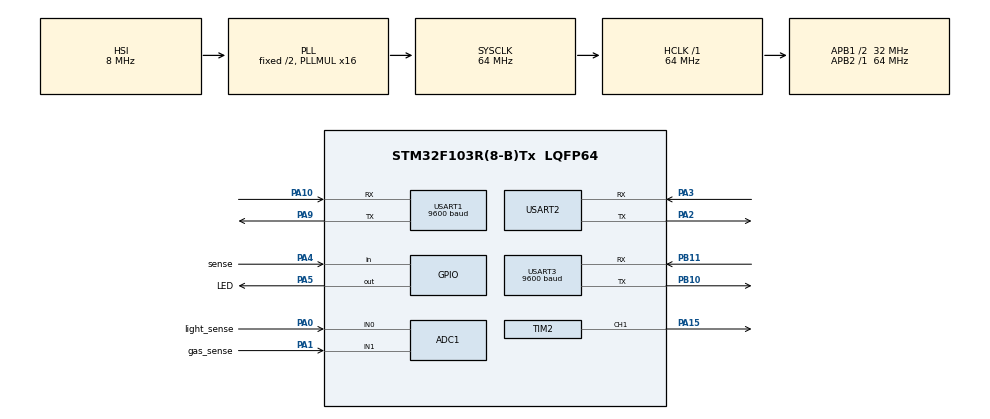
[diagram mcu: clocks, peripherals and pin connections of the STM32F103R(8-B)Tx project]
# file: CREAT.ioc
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ADC1.Channel-0\#ChannelRegularConversion=ADC_CHANNEL_0
ADC1.Channel-1\#ChannelRegularConversion=ADC_CHANNEL_1
ADC1.ContinuousConvMode=ENABLE
ADC1.NbrOfConversion=2
ADC1.NbrOfConversionFlag=1
ADC1.Rank-0\#ChannelRegularConversion=1
ADC1.Rank-1\#ChannelRegularConversion=2
ADC1.SamplingTime-0\#ChannelRegularConversion=ADC_SAMPLETIME_1CYCLE_5
ADC1.SamplingTime-1\#ChannelRegularConversion=ADC_SAMPLETIME_1CYCLE_5
ADC1.master=1
Dma.ADC1.0.Direction=DMA_PERIPH_TO_MEMORY
Dma.ADC1.0.Instance=DMA1_Channel1
Dma.ADC1.0.MemDataAlignment=DMA_MDATAALIGN_WORD
Dma.ADC1.0.MemInc=DMA_MINC_ENABLE
Dma.ADC1.0.Mode=DMA_CIRCULAR
Dma.ADC1.0.PeriphDataAlignment=DMA_PDATAALIGN_WORD
Dma.ADC1.0.PeriphInc=DMA_PINC_DISABLE
Dma.ADC1.0.Priority=DMA_PRIORITY_LOW
Dma.Request0=ADC1
Mcu.Family=STM32F1
Mcu.Name=STM32F103R(8-B)Tx
Mcu.Package=LQFP64
NVIC.DMA1_Channel1_IRQn=true\:0\:0\:false\:false\:true\:false\:true
NVIC.PriorityGroup=NVIC_PRIORITYGROUP_4
NVIC.USART1_IRQn=true\:0\:0\:false\:false\:true\:true\:true
NVIC.USART2_IRQn=true\:0\:0\:false\:false\:true\:true\:true
NVIC.USART3_IRQn=true\:0\:0\:false\:false\:true\:true\:true
PA0-WKUP.GPIO_Label=light_sense
PA0-WKUP.GPIO_Mode=GPIO_MODE_ANALOG
PA0-WKUP.Signal=ADCx_IN0
PA0-WKUP.Stacked=true
PA1.GPIO_Label=gas_sense
PA1.Signal=ADCx_IN1
PA10.Mode=Asynchronous
PA10.Signal=USART1_RX
PA15.Signal=S_TIM2_CH1_ETR
PA2.Mode=Asynchronous
PA2.Signal=USART2_TX
PA3.Mode=Asynchronous
PA3.Signal=USART2_RX
PA4.GPIO_Label=sense
PA4.Signal=GPIO_Input
PA5.GPIO_Label=LED
PA5.GPIO_PuPd=GPIO_NOPULL
PA5.Signal=GPIO_Output
PA9.Mode=Asynchronous
PA9.Signal=USART1_TX
PB10.Mode=Asynchronous
PB10.Signal=USART3_TX
PB11.Mode=Asynchronous
PB11.Signal=USART3_RX
PD0-OSC_IN.Mode=HSE-External-Oscillator
PD0-OSC_IN.Signal=RCC_OSC_IN
PD1-OSC_OUT.Mode=HSE-External-Oscillator
PD1-OSC_OUT.Signal=RCC_OSC_OUT
ProjectManager.HeapSize=0x200
ProjectManager.StackSize=0x400
ProjectManager.TargetToolchain=MDK-ARM V5
RCC.ADCPresc=RCC_ADCPCLK2_DIV6
RCC.AHBFreq_Value=64000000
RCC.APB1CLKDivider=RCC_HCLK_DIV2
RCC.APB1Freq_Value=32000000
RCC.APB1TimFreq_Value=64000000
RCC.APB2Freq_Value=64000000
RCC.APB2TimFreq_Value=64000000
RCC.HCLKFreq_Value=64000000
RCC.PLLMUL=RCC_PLL_MUL16
RCC.SYSCLKFreq_VALUE=64000000
RCC.SYSCLKSource=RCC_SYSCLKSOURCE_PLLCLK
RCC.USBFreq_Value=64000000
SH.ADCx_IN0.0=ADC1_IN0,IN0
SH.ADCx_IN0.1=ADC2_IN0
SH.ADCx_IN1.0=ADC1_IN1,IN1
SH.S_TIM2_CH1_ETR.0=TIM2_CH1,PWM Generation1 CH1
TIM2.AutoReloadPreload=TIM_AUTORELOAD_PRELOAD_ENABLE
TIM2.Channel-PWM\ Generation1\ CH1=TIM_CHANNEL_1
TIM2.Period=199
TIM2.Prescaler=6399
USART1.BaudRate=9600
USART1.VirtualMode=VM_ASYNC
USART2.VirtualMode=VM_ASYNC
USART3.BaudRate=9600
USART3.VirtualMode=VM_ASYNC
VP_SYS_VS_ND.Mode=No_Debug
VP_TIM2_VS_ClockSourceINT.Mode=Internal
board=custom

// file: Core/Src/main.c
/* USER CODE BEGIN Header */
/**
  ******************************************************************************
  * @file           : main.c
  * @brief          : Main program body
  ******************************************************************************
  * @attention
  *
  * <h2><center>&copy; Copyright (c) 2021 STMicroelectronics.
  * All rights reserved.</center></h2>
  *
  * This software component is licensed by ST under BSD 3-Clause license,
  * the "License"; You may not use this file except in compliance with the
  * License. You may obtain a copy of the License at:
  *                        opensource.org/licenses/BSD-3-Clause
  *
  ******************************************************************************
  */
/* USER CODE END Header */
#include "main.h"
#include "adc.h"
#include "dma.h"
#include "tim.h"
#include "usart.h"
#include "gpio.h"

/* USER CODE BEGIN Includes */
#define USER_MAIN_DEBUG
#ifdef USER_MAIN_DEBUG
#define user_main_printf(format, ...) printf(format "\r\n", ##__VA_ARGS__)
#define user_main_info(format, ...) printf("[\tmain]info:" format "\r\n", ##__VA_ARGS__)
#define user_main_debug(format, ...) printf("[\tmain]debug:" format "\r\n", ##__VA_ARGS__)
#define user_main_error(format, ...) printf("[\tmain]error:" format "\r\n", ##__VA_ARGS__)
#else
#define user_main_printf(format, ...)
#define user_main_info(format, ...)
#define user_main_debug(format, ...)
#define user_main_error(format, ...)
#endif
/* USER CODE END Includes */

/* USER CODE BEGIN PTD */
//  void Printft();
uint8_t Curtain_Status = 0;       //默认窗帘关闭
uint8_t Light_Status = 0;         //默认有光
uint8_t Gas_Status = 1;           //默认空气优
uint8_t EntranceGuard_Status = 0; //门禁默认关闭
uint8_t RxBuffer1, RxBuffer2, RxBuffer3;
uint8_t mode;            //设置模式变量
uint8_t OpenValue = 0;   //人为对窗帘打开控制默认关闭
uint8_t CloseValue = 0;  //人为对窗帘关闭默认关闭
uint8_t ActionValue = 0; //动作标志位默认为0，即没有开关时即没有动作标志位

uint32_t Transfer_Value; //设置传入数据变量
uint8_t data[8] = {0};
uint32_t light_value;
uint32_t gas_value;
uint8_t AD_Value;
uint8_t curtain = 0; //默认自动模式
uint32_t ADC_Value[100];
uint8_t i;
uint32_t ad1, ad2;
/* USER CODE END PTD */

/* USER CODE BEGIN PM */
void close_curtain(void);
void open_curtain(void);
/* USER CODE END PM */

/* USER CODE BEGIN PV */
void open_engine_work(int16_t i);
void close_engine_work(int16_t i);
/* USER CODE END PV */

void SystemClock_Config(void);

/* USER CODE BEGIN 0 */

#include "stdio.h"
int fputc(int ch, FILE *f)
{
    uint8_t temp[1] = {ch};
    HAL_UART_Transmit(&huart2, temp, 1, 2); //huart1 根据配置修改
    return ch;
}
/* USER CODE END 0 */

int main(void)
{

    /* MCU Configuration--------------------------------------------------------*/

    /* Reset of all peripherals, Initializes the Flash interface and the Systick. */
    HAL_Init();

    /* Configure the system clock */
    SystemClock_Config();

    /* Initialize all configured peripherals */
    MX_GPIO_Init();
    MX_DMA_Init();
    MX_USART1_UART_Init();
    MX_USART2_UART_Init();
    MX_ADC1_Init();
    MX_USART3_UART_Init();
    MX_TIM2_Init();
    HAL_TIM_PWM_Start(&htim2, TIM_CHANNEL_1);

    /* USER CODE BEGIN 2 */

    HAL_ADC_Start_DMA(&hadc1, (uint32_t *)&ADC_Value, 100);
    HAL_UART_Receive_IT(&huart1, (uint8_t *)&RxBuffer1, 1);
    HAL_UART_Receive_IT(&huart2, (uint8_t *)&RxBuffer2, 1);
    HAL_UART_Receive_IT(&huart3, (uint8_t *)&RxBuffer3, 1); //对于串口3先不做处理

    data[0] = 'a';
    /* USER CODE END 2 */

    /* Infinite loop */
    /* USER CODE BEGIN WHILE */
    while (1)
    {

        /*空气质量*/
        //	  HAL_ADC_Start(&hadc2);//启动ADC装换
        //	 HAL_ADC_PollForConversion(&hadc2, 50);//等待转换完成，第二个参数表示超时时间，单位ms.
        //	 if(HAL_IS_BIT_SET(HAL_ADC_GetState(&hadc2), HAL_ADC_STATE_REG_EOC)){
        //			AD_Value = HAL_ADC_GetValue(&hadc2);//读取ADC转换数据，数据为12位
        //			gas_value= (int)AD_Value*99.00/4096;
        //			data[5] = gas_value/10+ '0';
        //			data[6] = gas_value%10+ '0';
        //printf("[\tmain]info:v=%d\r\n",gas_value);//打印日志
			open_curtain();

        for (i = 0, ad1 = 0, ad2 = 0; i < 100;)
        {
            ad1 += ADC_Value[i++];
            ad2 += ADC_Value[i++];
        }
        ad1 /= 50;
        ad2 /= 50;
        light_value = 100-(int)ad1 * 100.0f / 4096;
        gas_value = (int)ad2 * 100.0f / 4096;
        if (light_value <30)
            Light_Status = 1; //光暗的时候
        else
            Light_Status = 0;

        //printf("[\tmain]info:AD1_value=%1.3fV\r\n", ad1*5.0f/4096);
        //printf("[\tmain]info:AD2_value=%1.3fV\r\n", ad2*5.0f/4096);

        //}
        data[1] = Curtain_Status + '0';
        data[2] = EntranceGuard_Status + '0';
        data[5] = gas_value / 10 + '0';
        data[6] = gas_value % 10 + '0';
        data[3] = light_value / 10 + '0';
        data[4] = light_value % 10 + '0';

        uartx_printf(huart1, "%s", data);
        uartx_printf(huart3, "%s", data);   //发消息给蓝牙
        HAL_Delay(1500);

        //		/*窗帘控制*/

        if (curtain == 0) //手动模式
        {
            if (OpenValue == 1 && Curtain_Status == 0 && ActionValue == 0) //窗帘想要打开且窗帘是关闭的时候
            {
                open_curtain();
                ActionValue++;
                OpenValue = 0;
                Curtain_Status = 1;
            }
            if (CloseValue == 1 && Curtain_Status == 1 && ActionValue == 0) //窗帘想要关闭且窗帘是打开的时候
            {
                close_curtain();
                ActionValue++;
                CloseValue = 0;
                Curtain_Status = 0;
            }
        }
        else //自动模式
        {
            if (OpenValue == 0 && CloseValue == 0)
            {
                if (Light_Status == 1 && Curtain_Status == 0 && ActionValue == 0) //光暗窗帘关闭的时候
                {
                    open_curtain();
                    ActionValue++;
                    OpenValue = 0;
                    Curtain_Status = 1;
                }
                if (Light_Status == 0 && Curtain_Status == 1 && ActionValue == 0)
                {
                    close_curtain();
                    ActionValue++;
                    CloseValue = 0;
                    Curtain_Status = 0;
                }
            }
            else if (OpenValue == 1)
            {
                if (Curtain_Status == 0 && ActionValue == 0)
                {
                    open_curtain();
                    ActionValue++;
                    OpenValue = 0;
                    Curtain_Status = 1;
                }
            }
            else if (CloseValue == 1)
            {
                if (Curtain_Status == 1 && ActionValue == 0)
                {
                    close_curtain();
                    ActionValue++;
                    CloseValue = 0;
                    Curtain_Status = 0;
                }
            }
        }

        ActionValue = 0;

        /* USER CODE END WHILE */

        /* USER CODE BEGIN 3 */
    }

    //void HAL_UART_RxCpltCallback(UART_HandleTypeDef *huart)//串口中断
    //{
    //	__HAL_UART_CLEAR_PEFLAG(huart);//串口接收清空错误标志
    //	if(huart2->Instance==USART1);//如果是蓝牙串口发来消息

    /* USER CODE END 3 */
}

void SystemClock_Config(void)
{
    RCC_OscInitTypeDef RCC_OscInitStruct = {0};
    RCC_ClkInitTypeDef RCC_ClkInitStruct = {0};
    RCC_PeriphCLKInitTypeDef PeriphClkInit = {0};

    /** Initializes the RCC Oscillators according to the specified parameters
  * in the RCC_OscInitTypeDef structure.
  */
    RCC_OscInitStruct.OscillatorType = RCC_OSCILLATORTYPE_HSI;
    RCC_OscInitStruct.HSIState = RCC_HSI_ON;
    RCC_OscInitStruct.HSICalibrationValue = RCC_HSICALIBRATION_DEFAULT;
    RCC_OscInitStruct.PLL.PLLState = RCC_PLL_ON;
    RCC_OscInitStruct.PLL.PLLSource = RCC_PLLSOURCE_HSI_DIV2;
    RCC_OscInitStruct.PLL.PLLMUL = RCC_PLL_MUL16;
    if (HAL_RCC_OscConfig(&RCC_OscInitStruct) != HAL_OK)
    {
        Error_Handler();
    }
    /** Initializes the CPU, AHB and APB buses clocks
  */
    RCC_ClkInitStruct.ClockType = RCC_CLOCKTYPE_HCLK | RCC_CLOCKTYPE_SYSCLK | RCC_CLOCKTYPE_PCLK1 | RCC_CLOCKTYPE_PCLK2;
    RCC_ClkInitStruct.SYSCLKSource = RCC_SYSCLKSOURCE_PLLCLK;
    RCC_ClkInitStruct.AHBCLKDivider = RCC_SYSCLK_DIV1;
    RCC_ClkInitStruct.APB1CLKDivider = RCC_HCLK_DIV2;
    RCC_ClkInitStruct.APB2CLKDivider = RCC_HCLK_DIV1;

    if (HAL_RCC_ClockConfig(&RCC_ClkInitStruct, FLASH_LATENCY_2) != HAL_OK)
    {
        Error_Handler();
    }
    PeriphClkInit.PeriphClockSelection = RCC_PERIPHCLK_ADC;
    PeriphClkInit.AdcClockSelection = RCC_ADCPCLK2_DIV6;
    if (HAL_RCCEx_PeriphCLKConfig(&PeriphClkInit) != HAL_OK)
    {
        Error_Handler();
    }
}

/* USER CODE BEGIN 4 */
void close_curtain(void)
{
    close_engine_work(1);
}

void open_curtain(void)
{
    open_engine_work(1);
}
void close_engine_work(int16_t i)

{
    while (i--)
    {
        __HAL_TIM_SET_COMPARE(&htim2, TIM_CHANNEL_1, 5);
        HAL_Delay(500);
        __HAL_TIM_SET_COMPARE(&htim2, TIM_CHANNEL_1, 15);
    }
}
void open_engine_work(int16_t i)
{
    while (i--)
    {
        __HAL_TIM_SET_COMPARE(&htim2, TIM_CHANNEL_1, 5);
        HAL_Delay(1000);
        __HAL_TIM_SET_COMPARE(&htim2, TIM_CHANNEL_1, 20);
    }
}

void HAL_UART_RxCpltCallback(UART_HandleTypeDef *huart)
{
    uint8_t wifi_mode;
    __HAL_UART_CLEAR_PEFLAG(huart); //串口接收清空错误标志
                                    //	if(huart->Instance==USART3)//蓝牙串口发来消息
                                    //	{、
                                    ////		DBG("hello_world");
                                    //		mode = RxBuffer3;
                                    //	printf("%c",mode);
                                    //	switch(mode)
                                    //		{
                                    //		case 'C':
                                    //							curtain = 1;			//(自动模式)
                                    //

    //							 break;
    //		case 'D':
    //		//                                                                                                                                                                                                                                              DBG("hello_world");//Curtain_Off();//打开窗帘 ，函数运行超时了,串口无法打印
    //
    //							curtain = 0;			//（手动模式）
    //
    //							break;
    //		case 'A':
    //			OpenValue = 1;			///打开

    //			break;
    //		case 'B':
    //			CloseValue =1;		//关闭

    //
    //			break;
    //		}
    //		HAL_UART_Receive_IT(&huart3, (uint8_t*) &RxBuffer3, 1);//相当于手动清位,实测如果没有这个只能中断一次
    //	}
    if (huart->Instance == USART1) //接收esp8266通信数据
    {
        //	printf("hello");
        wifi_mode = RxBuffer1; //接收标志位数据并赋给全局变量
                               //printf("%c",wifi_mode);//检测接收的字符
        printf("%c", wifi_mode);
        switch (wifi_mode)
        {
        case 'C':
            curtain = 1; //改变状态(自动模式)

            //拉上窗帘，函数运行超时了,串口无法打印
            break;
        case 'D':
            //打开窗帘 ，函数运行超时了,串口无法打印

            curtain = 0; //改变状态（手动模式）
            //Curtain_Status= 1;//窗帘打开
            break;
        case 'A':
            OpenValue = 1; //open_curtain();

            break;
        case 'B':
            CloseValue = 1; //close_curtain();

            break;
        }
        HAL_UART_Receive_IT(&huart1, (uint8_t *)&RxBuffer1, 1);
    }

    if (huart->Instance == USART2) //接收单片机门禁通信数据
    {
        EntranceGuard_Status = RxBuffer2 - '0';

        HAL_UART_Receive_IT(&huart2, (uint8_t *)&RxBuffer2, 1);
    }
}

/* USER CODE END 4 */

void Error_Handler(void)
{
    __disable_irq();
    while (1)
    {
    }
}

/************************ (C) COPYRIGHT STMicroelectronics *****END OF FILE****/
